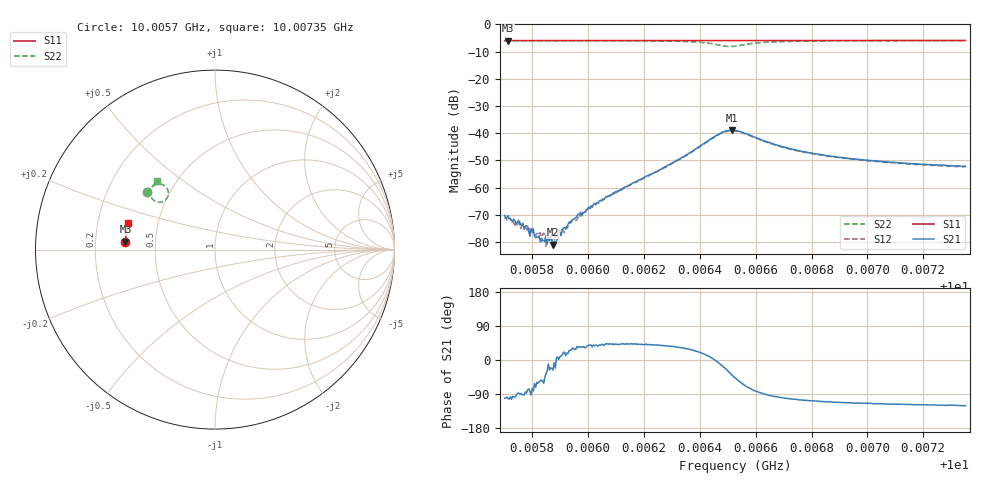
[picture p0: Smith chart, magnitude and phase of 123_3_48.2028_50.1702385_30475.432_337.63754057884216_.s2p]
#  HZ  S  RI  R  50.00
! Rohde & Schwarz Vector Network Analyzer
! Rohde-Schwarz,ZNB20-2Port,1311601062101988,3.16
! Created: UTC 3/20/2024, 11:41:36 AM
! freq[Hz]  re:S11  im:S11  re:S21  im:S21  re:S12  im:S12  re:S22  im:S22
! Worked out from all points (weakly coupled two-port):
!   401 points, 10.0057 GHz to 10.00735 GHz, reference 50 ohm
!   highest |S21| = -38.87 dB at 10.00651 GHz (marker M1); lowest = -80.9 dB at 10.00587 GHz (marker M2)
!   lowest |S11| = -6.0 dB at 10.00571 GHz (marker M3), VSWR 3.01, Z = 16.7 + j1.95 ohm
!   |S11| at or under -10 dB: nowhere
!   |S22| runs from -8.2 to -6.0 dB; largest |S21 - S12| = 0.00069
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1.0005701e10  -0.4992 0.0432  -5.99e-05 -0.000307  -3.97e-05 -0.000267  -0.3811 0.3194
1.0005713e10  -0.4989 0.0439  -6.37e-05 -0.000301  -3.27e-05 -0.000282  -0.3805 0.3202
1.0005775e10  -0.4988 0.048  1.96e-05 -0.000195  1.03e-05 -0.000186  -0.3776 0.3242
1.0005812e10  -0.4988 0.0507  3.8e-05 -0.000115  5.67e-05 -0.000119  -0.3755 0.3266
1.0005837e10  -0.4985 0.0521  5.98e-05 -8.9e-05  0.000104 -9.6e-05  -0.3742 0.3279
1.0005858e10  -0.4984 0.0535  0.00013 -2.46e-05  0.000108 -4.06e-05  -0.3732 0.3292
1.0005874e10  -0.4984 0.0546  8.1e-05 -4.01e-05  0.000103 -1.89e-05  -0.3722 0.3304
1.0005883e10  -0.4982 0.055  9.24e-05 -3.66e-05  0.000132 3.53e-06  -0.3719 0.3309
1.0005903e10  -0.4982 0.0564  0.00013 2.4e-05  0.00017 2.77e-05  -0.3706 0.3323
1.000592e10  -0.4981 0.0574  0.000172 3.6e-05  0.000165 8.43e-05  -0.3696 0.3332
1.0005936e10  -0.4981 0.0585  0.000214 0.000102  0.000185 0.000123  -0.3687 0.3345
1.0005977e10  -0.4977 0.0612  0.000253 0.00017  0.000257 0.0002  -0.366 0.3371
1.0006002e10  -0.4976 0.063  0.000343 0.000278  0.000345 0.000288  -0.3645 0.3389
1.0006076e10  -0.497 0.0676  0.000531 0.000494  0.000508 0.000481  -0.3589 0.3441
1.0006254e10  -0.4958 0.0792  0.00164 0.00133  0.00153 0.00139  -0.339 0.3583
1.0006464e10  -0.493 0.0927  0.00939 -0.000905  0.0092 -0.000405  -0.2618 0.3296
1.0006514e10  -0.4925 0.0951  0.00888 -0.00712  0.00904 -0.00645  -0.2781 0.2748
1.0006526e10  -0.4924 0.0957  0.00764 -0.00822  0.00792 -0.00766  -0.2917 0.2669
1.0006613e10  -0.4921 0.101  0.00066 -0.00784  0.000959 -0.00765  -0.3543 0.2904
1.0006802e10  -0.4901 0.1135  -0.0013 -0.0041  -0.00112 -0.00406  -0.3555 0.3392
1.0007079e10  -0.4864 0.131  -0.00131 -0.00264  -0.00111 -0.00264  -0.3394 0.3653
1.0007351e10  -0.4821 0.1481  -0.00127 -0.00214  -0.00113 -0.00216  -0.3246 0.3815
